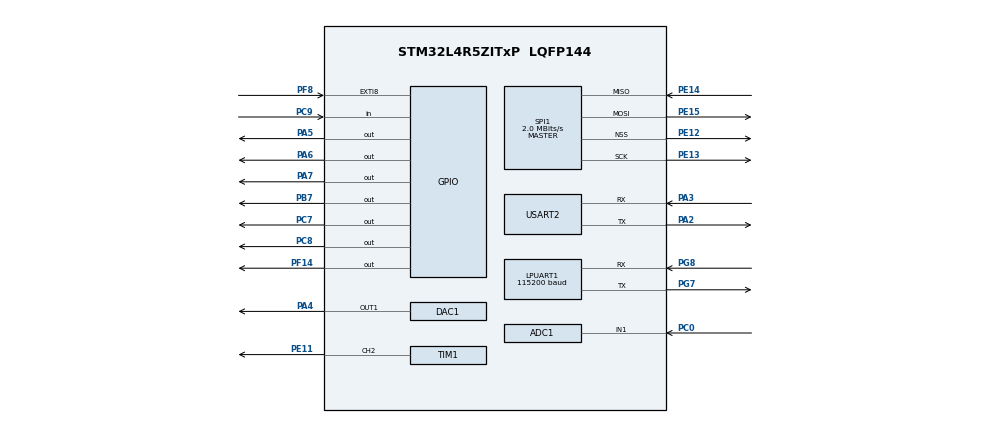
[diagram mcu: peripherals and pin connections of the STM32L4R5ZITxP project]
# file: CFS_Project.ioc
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ADC1.Channel-0\#ChannelRegularConversion=ADC_CHANNEL_1
ADC1.ClockPrescaler=ADC_CLOCK_ASYNC_DIV32
ADC1.NbrOfConversionFlag=1
ADC1.OffsetNumber-0\#ChannelRegularConversion=ADC_OFFSET_NONE
ADC1.Rank-0\#ChannelRegularConversion=1
ADC1.SamplingTime-0\#ChannelRegularConversion=ADC_SAMPLETIME_640CYCLES_5
ADC1.master=1
LPUART1.BaudRate=115200
LPUART1.WordLength=UART_WORDLENGTH_8B
Mcu.Family=STM32L4
Mcu.Name=STM32L4R5ZITxP
Mcu.Package=LQFP144
NVIC.EXTI9_5_IRQn=true\:1\:0\:true\:false\:true\:true\:true\:true
NVIC.PriorityGroup=NVIC_PRIORITYGROUP_4
NVIC.TIM4_IRQn=true\:0\:0\:false\:false\:true\:true\:true\:true
PA0.Signal=S_TIM2_CH1
PA10.Signal=USB_OTG_FS_ID
PA13\ (JTMS/SWDIO).Mode=Serial_Wire
PA13\ (JTMS/SWDIO).Signal=SYS_JTMS-SWDIO
PA14\ (JTCK/SWCLK).Mode=Serial_Wire
PA14\ (JTCK/SWCLK).Signal=SYS_JTCK-SWCLK
PA2.Mode=Asynchronous
PA2.Signal=USART2_TX
PA3.Mode=Asynchronous
PA3.Signal=USART2_RX
PA4.Signal=COMP_DAC11_group
PA5.Signal=GPIO_Output
PA6.Signal=GPIO_Output
PA7.Signal=GPIO_Output
PA8.Signal=USB_OTG_FS_SOF
PA9.Signal=USB_OTG_FS_VBUS
PB0.Signal=S_TIM3_CH3
PB1.Signal=ADCx_IN16
PB10.Signal=S_TIM2_CH3
PB12.Signal=SAI2_FS_A
PB13.Signal=SAI2_SCK_A
PB14.Signal=S_TIM15_CH1
PB15.Signal=SAI2_SD_A
PB2.Signal=COMP1_INP
PB3\ (JTDO/TRACESWO).Signal=SPI3_SCK
PB4\ (NJTRST).Signal=SPI3_MISO
PB5.Signal=SPI3_MOSI
PB7.Signal=GPIO_Output
PB8.Signal=I2C1_SCL
PB9.Signal=I2C1_SDA
PC0.Signal=ADCx_IN1
PC1.Signal=ADCx_IN2
PC10.Signal=SDMMC1_D2
PC11.Signal=SDMMC1_D3
PC12.Signal=SDMMC1_CK
PC13.Signal=SYS_WKUP2
PC14-OSC32_IN\ (PC14).Signal=RCC_OSC32_IN
PC15-OSC32_OUT\ (PC15).Signal=RCC_OSC32_OUT
PC2.Signal=ADCx_IN3
PC3.Signal=ADCx_IN4
PC4.Signal=ADCx_IN13
PC5.Signal=ADCx_IN14
PC6.Signal=SAI2_MCLK_A
PC7.Signal=GPIO_Output
PC8.Signal=GPIO_Output
PC9.Signal=GPIO_Input
PD0.Signal=CAN1_RX
PD14.Signal=S_TIM4_CH3
PD15.Signal=S_TIM4_CH4
PD2.Signal=SDMMC1_CMD
PD3.Signal=USART2_CTS
PD4.Signal=USART2_RTS
PD8.Signal=USART3_TX
PD9.Signal=USART3_RX
PE0.Signal=S_TIM4_ETR
PE10.Signal=TIM1_CH2N
PE11.Signal=S_TIM1_CH2
PE12.Mode=NSS_Signal_Hard_Output
PE12.Signal=SPI1_NSS
PE13.Mode=Full_Duplex_Master
PE13.Signal=SPI1_SCK
PE14.Mode=Full_Duplex_Master
PE14.Signal=SPI1_MISO
PE15.Mode=Full_Duplex_Master
PE15.Signal=SPI1_MOSI
PE2.Signal=SAI1_MCLK_A
PE3.Signal=SAI1_SD_B
PE7.Signal=S_TIM1_ETR
PE8.Signal=TIM1_CH1N
PE9.Signal=S_TIM1_CH1
PF0.Signal=I2C2_SDA
PF1.Signal=I2C2_SCL
PF14.Signal=GPIO_Output
PF2.Signal=I2C2_SMBA
PF7.Signal=SAI1_MCLK_B
PF8.GPIO_ModeDefaultEXTI=GPIO_MODE_IT_FALLING
PF8.Signal=GPXTI8
PG7.Mode=Asynchronous
PG7.Signal=LPUART1_TX
PG8.Mode=Asynchronous
PG8.Signal=LPUART1_RX
PH0-OSC_IN\ (PH0).Mode=HSE-External-Oscillator
PH0-OSC_IN\ (PH0).Signal=RCC_OSC_IN
PH1-OSC_OUT\ (PH1).Mode=HSE-External-Oscillator
PH1-OSC_OUT\ (PH1).Signal=RCC_OSC_OUT
ProjectManager.HeapSize=0x200
ProjectManager.StackSize=0x400
ProjectManager.TargetToolchain=STM32CubeIDE
RCC.ADCFreq_Value=32000000
RCC.HSE_VALUE=8000000
RCC.HSI48_VALUE=48000000
RCC.HSI_VALUE=16000000
RCC.LSE_VALUE=32768
RCC.MSI_VALUE=4000000
RCC.PLLSAI1N=16
RCC.USBFreq_Value=32000000
RCC.VCOOutputFreq_Value=32000000
SH.ADCx_IN1.0=ADC1_IN1,IN1-Single-Ended
SH.ADCx_IN13.0=ADC1_IN13
SH.ADCx_IN14.0=ADC1_IN14
SH.ADCx_IN16.0=ADC1_IN16
SH.ADCx_IN2.0=ADC1_IN2
SH.ADCx_IN3.0=ADC1_IN3
SH.ADCx_IN4.0=ADC1_IN4
SH.COMP_DAC11_group.0=DAC1_OUT1,DAC_OUT1
SH.S_TIM15_CH1.0=TIM15_CH1
SH.S_TIM1_CH1.0=TIM1_CH1
SH.S_TIM1_CH2.0=TIM1_CH2,PWM Generation2 CH2
SH.S_TIM1_ETR.0=TIM1_ETR
SH.S_TIM2_CH1.0=TIM2_CH1
SH.S_TIM2_CH3.0=TIM2_CH3
SH.S_TIM3_CH3.0=TIM3_CH3
SH.S_TIM4_CH3.0=TIM4_CH3
SH.S_TIM4_CH4.0=TIM4_CH4
SH.S_TIM4_ETR.0=TIM4_ETR
SPI1.CalculateBaudRate=2.0 MBits/s
SPI1.Direction=SPI_DIRECTION_2LINES
SPI1.Mode=SPI_MODE_MASTER
SPI1.VirtualNSS=VM_NSSHARD
SPI1.VirtualType=VM_MASTER
TIM1.Channel-PWM\ Generation2\ CH2=TIM_CHANNEL_2
TIM1.Period=1999
TIM1.Prescaler=39
TIM4.Period=30000
TIM4.Prescaler=39999
USART2.VirtualMode-Asynchronous=VM_ASYNC
VP_TIM1_VS_ClockSourceINT.Mode=Internal
VP_TIM4_VS_ClockSourceINT.Mode=Internal
board=NUCLEO-L4R5ZI-P

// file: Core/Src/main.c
/* USER CODE BEGIN Header */
/**
  ******************************************************************************
  * @file           : main.c
  * @brief          : Main program body
  ******************************************************************************
  * @attention
  *
  * Copyright (c) 2023 STMicroelectronics.
  * All rights reserved.
  *
  * This software is licensed under terms that can be found in the LICENSE file
  * in the root directory of this software component.
  * If no LICENSE file comes with this software, it is provided AS-IS.
  *
  ******************************************************************************
  */
/* USER CODE END Header */
#include "main.h"

/* USER CODE BEGIN Includes */
#include <math.h>
#include "stdio.h"
#include "lora_sx1276.h"
/* USER CODE END Includes */

/* USER CODE BEGIN PD */
#define TIM_CNT_OFFSET 0x24 // timer counter reg offset
#define TIM4_ADDR 0x40000800 //timer 4 base register
#define TIM1_ADDR 0x40012C00 //timer 4 base register
#define TIM_CCR2_OFFSET 0x38 //capture/compare register 2
#define MOTION_THRESHOLD 45 // motion sensor trigger threshold

/* USER CODE END PD */

ADC_HandleTypeDef hadc1;

DAC_HandleTypeDef hdac1;

UART_HandleTypeDef hlpuart1;
UART_HandleTypeDef huart2;

SPI_HandleTypeDef hspi1;

TIM_HandleTypeDef htim1;
TIM_HandleTypeDef htim4;

/* USER CODE BEGIN PV */
uint8_t Rx_data[4] = {255, 255, 255, 255}; // Creating a buffer of 8 bytes
volatile uint8_t day;
static double R = 10; // 10K Ohms
volatile uint8_t motion;
/* USER CODE END PV */

void SystemClock_Config(void);
static void MX_GPIO_Init(void);
static void MX_ADC1_Init(void);
static void MX_DAC1_Init(void);
static void MX_LPUART1_UART_Init(void);
static void MX_TIM4_Init(void);
static void MX_TIM1_Init(void);
static void MX_USART2_UART_Init(void);
static void MX_SPI1_Init(void);
/* USER CODE BEGIN PFP */
double lux_read(double);
uint8_t* UART2_init(void);

void move_servo_right(void);
void move_servo_center_left(void);
void move_servo_left(void);
void move_servo_center_right(void);
/* USER CODE END PFP */

/* USER CODE BEGIN 0 */
uint32_t * tim1_ccr2 = (uint32_t *)(TIM1_ADDR + TIM_CCR2_OFFSET);

uint8_t display_LUT[10][8]= {
	{0x06, 0x09, 0x09, 0x09, 0x09, 0x09, 0x09, 0x06}, //0
	{0x02, 0x06, 0x0A, 0x02, 0x02, 0x02, 0x02, 0x0F}, //1
	{0x06, 0x09, 0x01, 0x02, 0x04, 0x08, 0x08, 0x0F}, //2
	{0x06, 0x09, 0x01, 0x02, 0x07, 0x01, 0x09, 0x06}, //3
	{0x09, 0x09, 0x09, 0x0F, 0x01, 0x01, 0x01, 0x01}, //4
	{0x0F, 0x08, 0x08, 0x0E, 0x01, 0x01, 0x09, 0x06}, //5
	{0x06, 0x09, 0x08, 0x0E, 0x09, 0x09, 0x09, 0x06}, //6
	{0x0F, 0x09, 0x01, 0x03, 0x06, 0x04, 0x0C, 0x08}, //7
	{0x06, 0x09, 0x09, 0x06, 0x09, 0x09, 0x09, 0x06}, //8
	{0x06, 0x09, 0x09, 0x09, 0x07, 0x01, 0x01, 0x01}, //9
};

void write_byte (uint8_t byte)
{
	for (int i =0; i<8; i++)
	{
		HAL_GPIO_WritePin(GPIOA, GPIO_PIN_5, 0);  // pull the clock pin low
		HAL_GPIO_WritePin(GPIOA, GPIO_PIN_7, byte&0x80);  // write the MSB bit to the data pin
		byte = byte<<1;  // shift left
		HAL_GPIO_WritePin(GPIOA, GPIO_PIN_5, 1);  // pull the clock pin HIGH
	}
}

void write_max (uint8_t address, uint8_t data)
{
	HAL_GPIO_WritePin (GPIOA, GPIO_PIN_6, 0);  // pull the CS pin LOW
	write_byte (address);
	write_byte (data);
	HAL_GPIO_WritePin (GPIOA, GPIO_PIN_6, 1);  // pull the CS pin HIGH
}

// init display
void max_init(void)
{
 write_max(0x09, 0x00);       //  no decoding
 write_max(0x0a, 0x01);       //  brightness intensity
 write_max(0x0b, 0x07);       //  scan limit = 8 LEDs
 write_max(0x0c, 0x01);       //  power down =0,normal mode = 1
 write_max(0x0f, 0x00);       //  no test display

 uint8_t dispTen[8] = {};
 uint8_t dispOne[8];

 	int tens = 0;
 	int ones = 0;

 	if(tens != 0){
 		for (int i=0; i<8; i++){
 			dispTen[i] = display_LUT[tens][i] << 4;
 		}
 	}

 	for (int i=0; i<8; i++){
 		dispOne[i] = display_LUT[ones][i] + dispTen[i];
 		write_max(i+1 , dispOne[i]);
 	}
}

void display_number(uint8_t* data) {
	uint8_t dispTen[8] = {};
	uint8_t dispOne[8];

	int tens = (*data)/10;
	int ones = (*data)%10;

	if(tens != 0){
		for (int i=0; i<8; i++){
			dispTen[i] = display_LUT[tens][i] << 4;
		}
	}

	for (int i=0; i<8; i++){
		dispOne[i] = display_LUT[ones][i] + dispTen[i];
		write_max(i+1 , dispOne[i]);
	}
}

/* USER CODE END 0 */

int main(void)
{

  /* MCU Configuration--------------------------------------------------------*/

  /* Reset of all peripherals, Initializes the Flash interface and the Systick. */
  HAL_Init();

  /* Configure the system clock */
  SystemClock_Config();

  /* Initialize all configured peripherals */
  MX_GPIO_Init();
  MX_ADC1_Init();
  MX_DAC1_Init();
  MX_LPUART1_UART_Init();
  MX_TIM4_Init();
  MX_TIM1_Init();
  MX_USART2_UART_Init();
  MX_SPI1_Init();
  /* USER CODE BEGIN 2 */
  HAL_TIM_PWM_Start(&htim1, TIM_CHANNEL_2);

  if (HAL_TIM_Base_Start_IT(&htim4) != HAL_OK)
    {
      /* Starting Error */
      Error_Handler();
    }

  max_init();

  lora_sx1276 lora;

  /*
    // SX1276 compatible module connected to SPI1, NSS pin connected to GPIO with label LORA_NSS
    uint8_t res = lora_init(&lora, &hspi1, GPIOE, GPIO_PIN_12, LORA_BASE_FREQUENCY_US);
    if (res != LORA_OK) {
      printf("LORA Initialization failed\n\r");
    }

    // Send packet can be as simple as
	   res = lora_send_packet(&lora, (uint8_t *)"Test", 4);
	   if (res != LORA_OK) {
		 printf("LORA Send failed\n\r");
	   }
	*/
  /* USER CODE END 2 */

  /* Infinite loop */
  /* USER CODE BEGIN WHILE */
  while (1)
  {
	  //PB7: Servo Indicator
	  //PC7: LED indicator of data capture process
	  //PC8: STM -> Jetson shared signal
	  //PC9: Jetson -> STM shared signal

	  volatile double lux;
	  motion = 0;

	 for (int i = 0; i < 12; ++i) { // total of 60 seconds interval, 12 samples taken
		lux = lux_read(R); // pass in resistance
		printf("lux value: %f \n\r", lux);
		if (lux < 10.) {
		  day = 0;
		  HAL_GPIO_WritePin(GPIOF, GPIO_PIN_14, 0b0); // Set F14 high -> put Jetson back into deep sleep
		}
		else {
		  day = 1;
		  HAL_GPIO_WritePin(GPIOF, GPIO_PIN_14, 0b0); // Set F14 high -> put Jetson back into deep sleep
		}
		HAL_Delay(5000); // 5 second poll interval in main
	 }

	 if (day & ~HAL_GPIO_ReadPin(GPIOB, GPIO_PIN_7) & (motion >= MOTION_THRESHOLD)) { // if there is enough motion detected
		 HAL_GPIO_TogglePin(GPIOF, GPIO_PIN_14); // toggle pin to 0 -> wake up Jetson from deep sleep
		 HAL_Delay(100);
		 HAL_GPIO_TogglePin(GPIOF, GPIO_PIN_14); // toggle pin to 1

		 HAL_GPIO_WritePin(GPIOB, GPIO_PIN_7, 1); // Starts the data analysis process

		 printf("motion count: %u \n\r", motion);

		 uint32_t* TIM4_CNT = (uint32_t*)(TIM4_ADDR + TIM_CNT_OFFSET);
		 *TIM4_CNT &= 0x00000000; // reset TIM4

		 HAL_Delay(5000);
	 }

	 while ((HAL_GPIO_ReadPin(GPIOB, GPIO_PIN_7) == 1) & (HAL_GPIO_ReadPin(GPIOC, GPIO_PIN_9) == 0)) {
		 HAL_Delay(200);
		 printf("Added delay before detection");
	 }

	 if (HAL_GPIO_ReadPin(GPIOB, GPIO_PIN_7) == 1) { // if motion or 5 min timer triggered -> actuate servos for reading and set shared signal (PC7) high for reading
		 HAL_NVIC_DisableIRQ(EXTI9_5_IRQn); // disable interrupts
		 Rx_data[0] = 255;
		 move_servo_right(); // move servo to first position
		 // READY TO BEGIN DETECTION
		 HAL_GPIO_WritePin(GPIOC, GPIO_PIN_7, 1);
		 HAL_GPIO_WritePin(GPIOC, GPIO_PIN_8, 1); // set shared signal high for first jetson reading
		 HAL_Delay(1);
		 HAL_GPIO_WritePin(GPIOC, GPIO_PIN_8, 0); // set shared signal low

		 HAL_Delay(5000);
		 while (HAL_GPIO_ReadPin(GPIOC, GPIO_PIN_9) == 0) { // wait until jetson completes reading
			 printf("Waiting for first reading \n\r");
		 }

		 printf("Moving Servos \n\r");
		 move_servo_center_left();
		 move_servo_left(); // move to second position
		 printf("Finished Moving Servos \n\r");

		 HAL_GPIO_WritePin(GPIOC, GPIO_PIN_8, 1); // set shared signal high for second jetson reading
		 HAL_Delay(1);
		 HAL_GPIO_WritePin(GPIOC, GPIO_PIN_8, 0); // set shared signal low

		 while (Rx_data[0] == 255) { // wait to receive data from jetson
			 	HAL_UART_Receive(&huart2, Rx_data, 4, 1000); // get first processed data of pedestrian count
		 }
		 printf("UART: %u \n\r", Rx_data[0]);
		 display_number(Rx_data);

		 HAL_GPIO_WritePin(GPIOC, GPIO_PIN_7, 0); // set led indicator low
		 move_servo_center_right(); // move servo back to center, reset

		 HAL_GPIO_WritePin(GPIOB, GPIO_PIN_7, 0); // done with count algorithm, stop servo movement

		 HAL_NVIC_EnableIRQ(EXTI9_5_IRQn); // disable interrupts
		 /*
		 // Send packet can be as simple as
		   res = lora_send_packet(&lora, (uint8_t *)Rx_data, 4);
		   if (res != LORA_OK) {
		     printf("LORA Send failed");
		   }
		  */
	 }

	// printf("motion value: %f \n\r", motion_v);

    /* USER CODE END WHILE */

  }
}

void SystemClock_Config(void)
{
  RCC_OscInitTypeDef RCC_OscInitStruct = {0};
  RCC_ClkInitTypeDef RCC_ClkInitStruct = {0};

  /** Configure the main internal regulator output voltage
  */
  if (HAL_PWREx_ControlVoltageScaling(PWR_REGULATOR_VOLTAGE_SCALE1) != HAL_OK)
  {
    Error_Handler();
  }

  /** Initializes the RCC Oscillators according to the specified parameters
  * in the RCC_OscInitTypeDef structure.
  */
  RCC_OscInitStruct.OscillatorType = RCC_OSCILLATORTYPE_MSI;
  RCC_OscInitStruct.MSIState = RCC_MSI_ON;
  RCC_OscInitStruct.MSICalibrationValue = 0;
  RCC_OscInitStruct.MSIClockRange = RCC_MSIRANGE_6;
  RCC_OscInitStruct.PLL.PLLState = RCC_PLL_NONE;
  if (HAL_RCC_OscConfig(&RCC_OscInitStruct) != HAL_OK)
  {
    Error_Handler();
  }

  /** Initializes the CPU, AHB and APB buses clocks
  */
  RCC_ClkInitStruct.ClockType = RCC_CLOCKTYPE_HCLK|RCC_CLOCKTYPE_SYSCLK
                              |RCC_CLOCKTYPE_PCLK1|RCC_CLOCKTYPE_PCLK2;
  RCC_ClkInitStruct.SYSCLKSource = RCC_SYSCLKSOURCE_MSI;
  RCC_ClkInitStruct.AHBCLKDivider = RCC_SYSCLK_DIV1;
  RCC_ClkInitStruct.APB1CLKDivider = RCC_HCLK_DIV1;
  RCC_ClkInitStruct.APB2CLKDivider = RCC_HCLK_DIV1;

  if (HAL_RCC_ClockConfig(&RCC_ClkInitStruct, FLASH_LATENCY_0) != HAL_OK)
  {
    Error_Handler();
  }
}

static void MX_ADC1_Init(void)
{

  ADC_ChannelConfTypeDef sConfig = {0};

  /** Common config
  */
  hadc1.Instance = ADC1;
  hadc1.Init.ClockPrescaler = ADC_CLOCK_ASYNC_DIV32;
  hadc1.Init.Resolution = ADC_RESOLUTION_12B;
  hadc1.Init.DataAlign = ADC_DATAALIGN_RIGHT;
  hadc1.Init.ScanConvMode = ADC_SCAN_DISABLE;
  hadc1.Init.EOCSelection = ADC_EOC_SINGLE_CONV;
  hadc1.Init.LowPowerAutoWait = DISABLE;
  hadc1.Init.ContinuousConvMode = DISABLE;
  hadc1.Init.NbrOfConversion = 1;
  hadc1.Init.DiscontinuousConvMode = DISABLE;
  hadc1.Init.ExternalTrigConv = ADC_SOFTWARE_START;
  hadc1.Init.ExternalTrigConvEdge = ADC_EXTERNALTRIGCONVEDGE_NONE;
  hadc1.Init.DMAContinuousRequests = DISABLE;
  hadc1.Init.Overrun = ADC_OVR_DATA_PRESERVED;
  hadc1.Init.OversamplingMode = DISABLE;
  hadc1.Init.DFSDMConfig = ADC_DFSDM_MODE_ENABLE;
  if (HAL_ADC_Init(&hadc1) != HAL_OK)
  {
    Error_Handler();
  }

  /** Configure Regular Channel
  */
  sConfig.Channel = ADC_CHANNEL_1;
  sConfig.Rank = ADC_REGULAR_RANK_1;
  sConfig.SamplingTime = ADC_SAMPLETIME_640CYCLES_5;
  sConfig.SingleDiff = ADC_SINGLE_ENDED;
  sConfig.OffsetNumber = ADC_OFFSET_NONE;
  sConfig.Offset = 0;
  if (HAL_ADC_ConfigChannel(&hadc1, &sConfig) != HAL_OK)
  {
    Error_Handler();
  }

}

static void MX_DAC1_Init(void)
{

  DAC_ChannelConfTypeDef sConfig = {0};

  /** DAC Initialization
  */
  hdac1.Instance = DAC1;
  if (HAL_DAC_Init(&hdac1) != HAL_OK)
  {
    Error_Handler();
  }

  /** DAC channel OUT1 config
  */
  sConfig.DAC_SampleAndHold = DAC_SAMPLEANDHOLD_DISABLE;
  sConfig.DAC_Trigger = DAC_TRIGGER_NONE;
  sConfig.DAC_HighFrequency = DAC_HIGH_FREQUENCY_INTERFACE_MODE_DISABLE;
  sConfig.DAC_OutputBuffer = DAC_OUTPUTBUFFER_ENABLE;
  sConfig.DAC_ConnectOnChipPeripheral = DAC_CHIPCONNECT_DISABLE;
  sConfig.DAC_UserTrimming = DAC_TRIMMING_FACTORY;
  if (HAL_DAC_ConfigChannel(&hdac1, &sConfig, DAC_CHANNEL_1) != HAL_OK)
  {
    Error_Handler();
  }

}

static void MX_LPUART1_UART_Init(void)
{

  hlpuart1.Instance = LPUART1;
  hlpuart1.Init.BaudRate = 115200;
  hlpuart1.Init.WordLength = UART_WORDLENGTH_8B;
  hlpuart1.Init.StopBits = UART_STOPBITS_1;
  hlpuart1.Init.Parity = UART_PARITY_NONE;
  hlpuart1.Init.Mode = UART_MODE_TX_RX;
  hlpuart1.Init.HwFlowCtl = UART_HWCONTROL_NONE;
  hlpuart1.Init.OneBitSampling = UART_ONE_BIT_SAMPLE_DISABLE;
  hlpuart1.Init.ClockPrescaler = UART_PRESCALER_DIV1;
  hlpuart1.AdvancedInit.AdvFeatureInit = UART_ADVFEATURE_NO_INIT;
  hlpuart1.FifoMode = UART_FIFOMODE_DISABLE;
  if (HAL_UART_Init(&hlpuart1) != HAL_OK)
  {
    Error_Handler();
  }
  if (HAL_UARTEx_SetTxFifoThreshold(&hlpuart1, UART_TXFIFO_THRESHOLD_1_8) != HAL_OK)
  {
    Error_Handler();
  }
  if (HAL_UARTEx_SetRxFifoThreshold(&hlpuart1, UART_RXFIFO_THRESHOLD_1_8) != HAL_OK)
  {
    Error_Handler();
  }
  if (HAL_UARTEx_DisableFifoMode(&hlpuart1) != HAL_OK)
  {
    Error_Handler();
  }

}

static void MX_USART2_UART_Init(void)
{

  huart2.Instance = USART2;
  huart2.Init.BaudRate = 115200;
  huart2.Init.WordLength = UART_WORDLENGTH_8B;
  huart2.Init.StopBits = UART_STOPBITS_1;
  huart2.Init.Parity = UART_PARITY_NONE;
  huart2.Init.Mode = UART_MODE_TX_RX;
  huart2.Init.HwFlowCtl = UART_HWCONTROL_NONE;
  huart2.Init.OverSampling = UART_OVERSAMPLING_16;
  huart2.Init.OneBitSampling = UART_ONE_BIT_SAMPLE_DISABLE;
  huart2.Init.ClockPrescaler = UART_PRESCALER_DIV1;
  huart2.AdvancedInit.AdvFeatureInit = UART_ADVFEATURE_NO_INIT;
  if (HAL_UART_Init(&huart2) != HAL_OK)
  {
    Error_Handler();
  }
  if (HAL_UARTEx_SetTxFifoThreshold(&huart2, UART_TXFIFO_THRESHOLD_1_8) != HAL_OK)
  {
    Error_Handler();
  }
  if (HAL_UARTEx_SetRxFifoThreshold(&huart2, UART_RXFIFO_THRESHOLD_1_8) != HAL_OK)
  {
    Error_Handler();
  }
  if (HAL_UARTEx_DisableFifoMode(&huart2) != HAL_OK)
  {
    Error_Handler();
  }

}

static void MX_SPI1_Init(void)
{

  /* SPI1 parameter configuration*/
  hspi1.Instance = SPI1;
  hspi1.Init.Mode = SPI_MODE_MASTER;
  hspi1.Init.Direction = SPI_DIRECTION_2LINES;
  hspi1.Init.DataSize = SPI_DATASIZE_4BIT;
  hspi1.Init.CLKPolarity = SPI_POLARITY_LOW;
  hspi1.Init.CLKPhase = SPI_PHASE_1EDGE;
  hspi1.Init.NSS = SPI_NSS_HARD_OUTPUT;
  hspi1.Init.BaudRatePrescaler = SPI_BAUDRATEPRESCALER_2;
  hspi1.Init.FirstBit = SPI_FIRSTBIT_MSB;
  hspi1.Init.TIMode = SPI_TIMODE_DISABLE;
  hspi1.Init.CRCCalculation = SPI_CRCCALCULATION_DISABLE;
  hspi1.Init.CRCPolynomial = 7;
  hspi1.Init.CRCLength = SPI_CRC_LENGTH_DATASIZE;
  hspi1.Init.NSSPMode = SPI_NSS_PULSE_ENABLE;
  if (HAL_SPI_Init(&hspi1) != HAL_OK)
  {
    Error_Handler();
  }

}

static void MX_TIM1_Init(void)
{

  TIM_ClockConfigTypeDef sClockSourceConfig = {0};
  TIM_MasterConfigTypeDef sMasterConfig = {0};
  TIM_OC_InitTypeDef sConfigOC = {0};
  TIM_BreakDeadTimeConfigTypeDef sBreakDeadTimeConfig = {0};

  htim1.Instance = TIM1;
  htim1.Init.Prescaler = 39;
  htim1.Init.CounterMode = TIM_COUNTERMODE_UP;
  htim1.Init.Period = 1999;
  htim1.Init.ClockDivision = TIM_CLOCKDIVISION_DIV1;
  htim1.Init.RepetitionCounter = 0;
  htim1.Init.AutoReloadPreload = TIM_AUTORELOAD_PRELOAD_DISABLE;
  if (HAL_TIM_Base_Init(&htim1) != HAL_OK)
  {
    Error_Handler();
  }
  sClockSourceConfig.ClockSource = TIM_CLOCKSOURCE_INTERNAL;
  if (HAL_TIM_ConfigClockSource(&htim1, &sClockSourceConfig) != HAL_OK)
  {
    Error_Handler();
  }
  if (HAL_TIM_PWM_Init(&htim1) != HAL_OK)
  {
    Error_Handler();
  }
  sMasterConfig.MasterOutputTrigger = TIM_TRGO_RESET;
  sMasterConfig.MasterOutputTrigger2 = TIM_TRGO2_RESET;
  sMasterConfig.MasterSlaveMode = TIM_MASTERSLAVEMODE_DISABLE;
  if (HAL_TIMEx_MasterConfigSynchronization(&htim1, &sMasterConfig) != HAL_OK)
  {
    Error_Handler();
  }
  sConfigOC.OCMode = TIM_OCMODE_PWM1;
  sConfigOC.Pulse = 0;
  sConfigOC.OCPolarity = TIM_OCPOLARITY_HIGH;
  sConfigOC.OCNPolarity = TIM_OCNPOLARITY_HIGH;
  sConfigOC.OCFastMode = TIM_OCFAST_DISABLE;
  sConfigOC.OCIdleState = TIM_OCIDLESTATE_RESET;
  sConfigOC.OCNIdleState = TIM_OCNIDLESTATE_RESET;
  if (HAL_TIM_PWM_ConfigChannel(&htim1, &sConfigOC, TIM_CHANNEL_2) != HAL_OK)
  {
    Error_Handler();
  }
  sBreakDeadTimeConfig.OffStateRunMode = TIM_OSSR_DISABLE;
  sBreakDeadTimeConfig.OffStateIDLEMode = TIM_OSSI_DISABLE;
  sBreakDeadTimeConfig.LockLevel = TIM_LOCKLEVEL_OFF;
  sBreakDeadTimeConfig.DeadTime = 0;
  sBreakDeadTimeConfig.BreakState = TIM_BREAK_DISABLE;
  sBreakDeadTimeConfig.BreakPolarity = TIM_BREAKPOLARITY_HIGH;
  sBreakDeadTimeConfig.BreakFilter = 0;
  sBreakDeadTimeConfig.Break2State = TIM_BREAK2_DISABLE;
  sBreakDeadTimeConfig.Break2Polarity = TIM_BREAK2POLARITY_HIGH;
  sBreakDeadTimeConfig.Break2Filter = 0;
  sBreakDeadTimeConfig.AutomaticOutput = TIM_AUTOMATICOUTPUT_DISABLE;
  if (HAL_TIMEx_ConfigBreakDeadTime(&htim1, &sBreakDeadTimeConfig) != HAL_OK)
  {
    Error_Handler();
  }
  HAL_TIM_MspPostInit(&htim1);

}

static void MX_TIM4_Init(void)
{

  TIM_ClockConfigTypeDef sClockSourceConfig = {0};
  TIM_MasterConfigTypeDef sMasterConfig = {0};

  htim4.Instance = TIM4;
  htim4.Init.Prescaler = 39999;
  htim4.Init.CounterMode = TIM_COUNTERMODE_UP;
  htim4.Init.Period = 30000;
  htim4.Init.ClockDivision = TIM_CLOCKDIVISION_DIV1;
  htim4.Init.AutoReloadPreload = TIM_AUTORELOAD_PRELOAD_DISABLE;
  if (HAL_TIM_Base_Init(&htim4) != HAL_OK)
  {
    Error_Handler();
  }
  sClockSourceConfig.ClockSource = TIM_CLOCKSOURCE_INTERNAL;
  if (HAL_TIM_ConfigClockSource(&htim4, &sClockSourceConfig) != HAL_OK)
  {
    Error_Handler();
  }
  sMasterConfig.MasterOutputTrigger = TIM_TRGO_RESET;
  sMasterConfig.MasterSlaveMode = TIM_MASTERSLAVEMODE_DISABLE;
  if (HAL_TIMEx_MasterConfigSynchronization(&htim4, &sMasterConfig) != HAL_OK)
  {
    Error_Handler();
  }

}

static void MX_GPIO_Init(void)
{
  GPIO_InitTypeDef GPIO_InitStruct = {0};

  /* GPIO Ports Clock Enable */
  __HAL_RCC_GPIOE_CLK_ENABLE();
  __HAL_RCC_GPIOC_CLK_ENABLE();
  __HAL_RCC_GPIOF_CLK_ENABLE();
  __HAL_RCC_GPIOH_CLK_ENABLE();
  __HAL_RCC_GPIOA_CLK_ENABLE();
  __HAL_RCC_GPIOB_CLK_ENABLE();
  __HAL_RCC_GPIOD_CLK_ENABLE();
  __HAL_RCC_GPIOG_CLK_ENABLE();
  HAL_PWREx_EnableVddIO2();

  /*Configure GPIO pin Output Level */
  HAL_GPIO_WritePin(GPIOA, GPIO_PIN_5|GPIO_PIN_6|GPIO_PIN_7, GPIO_PIN_RESET);

  /*Configure GPIO pin Output Level */
  HAL_GPIO_WritePin(GPIOF, GPIO_PIN_14, GPIO_PIN_RESET);

  /*Configure GPIO pin Output Level */
  HAL_GPIO_WritePin(GPIOC, GPIO_PIN_7|GPIO_PIN_8, GPIO_PIN_RESET);

  /*Configure GPIO pin Output Level */
  HAL_GPIO_WritePin(GPIOB, GPIO_PIN_7, GPIO_PIN_RESET);

  /*Configure GPIO pins : PE2 PE3 */
  GPIO_InitStruct.Pin = GPIO_PIN_2|GPIO_PIN_3;
  GPIO_InitStruct.Mode = GPIO_MODE_AF_PP;
  GPIO_InitStruct.Pull = GPIO_NOPULL;
  GPIO_InitStruct.Speed = GPIO_SPEED_FREQ_LOW;
  GPIO_InitStruct.Alternate = GPIO_AF13_SAI1;
  HAL_GPIO_Init(GPIOE, &GPIO_InitStruct);

  /*Configure GPIO pins : PF0 PF1 PF2 */
  GPIO_InitStruct.Pin = GPIO_PIN_0|GPIO_PIN_1|GPIO_PIN_2;
  GPIO_InitStruct.Mode = GPIO_MODE_AF_OD;
  GPIO_InitStruct.Pull = GPIO_NOPULL;
  GPIO_InitStruct.Speed = GPIO_SPEED_FREQ_VERY_HIGH;
  GPIO_InitStruct.Alternate = GPIO_AF4_I2C2;
  HAL_GPIO_Init(GPIOF, &GPIO_InitStruct);

  /*Configure GPIO pin : PF7 */
  GPIO_InitStruct.Pin = GPIO_PIN_7;
  GPIO_InitStruct.Mode = GPIO_MODE_AF_PP;
  GPIO_InitStruct.Pull = GPIO_NOPULL;
  GPIO_InitStruct.Speed = GPIO_SPEED_FREQ_LOW;
  GPIO_InitStruct.Alternate = GPIO_AF13_SAI1;
  HAL_GPIO_Init(GPIOF, &GPIO_InitStruct);

  /*Configure GPIO pin : PF8 */
  GPIO_InitStruct.Pin = GPIO_PIN_8;
  GPIO_InitStruct.Mode = GPIO_MODE_IT_FALLING;
  GPIO_InitStruct.Pull = GPIO_NOPULL;
  HAL_GPIO_Init(GPIOF, &GPIO_InitStruct);

  /*Configure GPIO pin : PA0 */
  GPIO_InitStruct.Pin = GPIO_PIN_0;
  GPIO_InitStruct.Mode = GPIO_MODE_AF_PP;
  GPIO_InitStruct.Pull = GPIO_NOPULL;
  GPIO_InitStruct.Speed = GPIO_SPEED_FREQ_LOW;
  GPIO_InitStruct.Alternate = GPIO_AF1_TIM2;
  HAL_GPIO_Init(GPIOA, &GPIO_InitStruct);

  /*Configure GPIO pins : PA5 PA6 PA7 */
  GPIO_InitStruct.Pin = GPIO_PIN_5|GPIO_PIN_6|GPIO_PIN_7;
  GPIO_InitStruct.Mode = GPIO_MODE_OUTPUT_PP;
  GPIO_InitStruct.Pull = GPIO_NOPULL;
  GPIO_InitStruct.Speed = GPIO_SPEED_FREQ_LOW;
  HAL_GPIO_Init(GPIOA, &GPIO_InitStruct);

  /*Configure GPIO pin : PB0 */
  GPIO_InitStruct.Pin = GPIO_PIN_0;
  GPIO_InitStruct.Mode = GPIO_MODE_AF_PP;
  GPIO_InitStruct.Pull = GPIO_NOPULL;
  GPIO_InitStruct.Speed = GPIO_SPEED_FREQ_LOW;
  GPIO_InitStruct.Alternate = GPIO_AF2_TIM3;
  HAL_GPIO_Init(GPIOB, &GPIO_InitStruct);

  /*Configure GPIO pin : PB2 */
  GPIO_InitStruct.Pin = GPIO_PIN_2;
  GPIO_InitStruct.Mode = GPIO_MODE_ANALOG;
  GPIO_InitStruct.Pull = GPIO_NOPULL;
  HAL_GPIO_Init(GPIOB, &GPIO_InitStruct);

  /*Configure GPIO pin : PF14 */
  GPIO_InitStruct.Pin = GPIO_PIN_14;
  GPIO_InitStruct.Mode = GPIO_MODE_OUTPUT_PP;
  GPIO_InitStruct.Pull = GPIO_NOPULL;
  GPIO_InitStruct.Speed = GPIO_SPEED_FREQ_LOW;
  HAL_GPIO_Init(GPIOF, &GPIO_InitStruct);

  /*Configure GPIO pin : PB10 */
  GPIO_InitStruct.Pin = GPIO_PIN_10;
  GPIO_InitStruct.Mode = GPIO_MODE_AF_PP;
  GPIO_InitStruct.Pull = GPIO_NOPULL;
  GPIO_InitStruct.Speed = GPIO_SPEED_FREQ_LOW;
  GPIO_InitStruct.Alternate = GPIO_AF1_TIM2;
  HAL_GPIO_Init(GPIOB, &GPIO_InitStruct);

  /*Configure GPIO pins : PB12 PB13 PB15 */
  GPIO_InitStruct.Pin = GPIO_PIN_12|GPIO_PIN_13|GPIO_PIN_15;
  GPIO_InitStruct.Mode = GPIO_MODE_AF_PP;
  GPIO_InitStruct.Pull = GPIO_NOPULL;
  GPIO_InitStruct.Speed = GPIO_SPEED_FREQ_LOW;
  GPIO_InitStruct.Alternate = GPIO_AF13_SAI2;
  HAL_GPIO_Init(GPIOB, &GPIO_InitStruct);

  /*Configure GPIO pin : PB14 */
  GPIO_InitStruct.Pin = GPIO_PIN_14;
  GPIO_InitStruct.Mode = GPIO_MODE_AF_PP;
  GPIO_InitStruct.Pull = GPIO_NOPULL;
  GPIO_InitStruct.Speed = GPIO_SPEED_FREQ_LOW;
  GPIO_InitStruct.Alternate = GPIO_AF14_TIM15;
  HAL_GPIO_Init(GPIOB, &GPIO_InitStruct);

  /*Configure GPIO pins : PD8 PD9 */
  GPIO_InitStruct.Pin = GPIO_PIN_8|GPIO_PIN_9;
  GPIO_InitStruct.Mode = GPIO_MODE_AF_PP;
  GPIO_InitStruct.Pull = GPIO_NOPULL;
  GPIO_InitStruct.Speed = GPIO_SPEED_FREQ_VERY_HIGH;
  GPIO_InitStruct.Alternate = GPIO_AF7_USART3;
  HAL_GPIO_Init(GPIOD, &GPIO_InitStruct);

  /*Configure GPIO pin : PC6 */
  GPIO_InitStruct.Pin = GPIO_PIN_6;
  GPIO_InitStruct.Mode = GPIO_MODE_AF_PP;
  GPIO_InitStruct.Pull = GPIO_NOPULL;
  GPIO_InitStruct.Speed = GPIO_SPEED_FREQ_LOW;
  GPIO_InitStruct.Alternate = GPIO_AF13_SAI2;
  HAL_GPIO_Init(GPIOC, &GPIO_InitStruct);

  /*Configure GPIO pins : PC7 PC8 */
  GPIO_InitStruct.Pin = GPIO_PIN_7|GPIO_PIN_8;
  GPIO_InitStruct.Mode = GPIO_MODE_OUTPUT_PP;
  GPIO_InitStruct.Pull = GPIO_NOPULL;
  GPIO_InitStruct.Speed = GPIO_SPEED_FREQ_LOW;
  HAL_GPIO_Init(GPIOC, &GPIO_InitStruct);

  /*Configure GPIO pin : PC9 */
  GPIO_InitStruct.Pin = GPIO_PIN_9;
  GPIO_InitStruct.Mode = GPIO_MODE_INPUT;
  GPIO_InitStruct.Pull = GPIO_NOPULL;
  HAL_GPIO_Init(GPIOC, &GPIO_InitStruct);

  /*Configure GPIO pins : PA8 PA10 */
  GPIO_InitStruct.Pin = GPIO_PIN_8|GPIO_PIN_10;
  GPIO_InitStruct.Mode = GPIO_MODE_AF_PP;
  GPIO_InitStruct.Pull = GPIO_NOPULL;
  GPIO_InitStruct.Speed = GPIO_SPEED_FREQ_VERY_HIGH;
  GPIO_InitStruct.Alternate = GPIO_AF10_OTG_FS;
  HAL_GPIO_Init(GPIOA, &GPIO_InitStruct);

  /*Configure GPIO pin : PA9 */
  GPIO_InitStruct.Pin = GPIO_PIN_9;
  GPIO_InitStruct.Mode = GPIO_MODE_INPUT;
  GPIO_InitStruct.Pull = GPIO_NOPULL;
  HAL_GPIO_Init(GPIOA, &GPIO_InitStruct);

  /*Configure GPIO pins : PC10 PC11 PC12 */
  GPIO_InitStruct.Pin = GPIO_PIN_10|GPIO_PIN_11|GPIO_PIN_12;
  GPIO_InitStruct.Mode = GPIO_MODE_AF_PP;
  GPIO_InitStruct.Pull = GPIO_NOPULL;
  GPIO_InitStruct.Speed = GPIO_SPEED_FREQ_VERY_HIGH;
  GPIO_InitStruct.Alternate = GPIO_AF12_SDMMC1;
  HAL_GPIO_Init(GPIOC, &GPIO_InitStruct);

  /*Configure GPIO pin : PD0 */
  GPIO_InitStruct.Pin = GPIO_PIN_0;
  GPIO_InitStruct.Mode = GPIO_MODE_AF_PP;
  GPIO_InitStruct.Pull = GPIO_NOPULL;
  GPIO_InitStruct.Speed = GPIO_SPEED_FREQ_VERY_HIGH;
  GPIO_InitStruct.Alternate = GPIO_AF9_CAN1;
  HAL_GPIO_Init(GPIOD, &GPIO_InitStruct);

  /*Configure GPIO pin : PD2 */
  GPIO_InitStruct.Pin = GPIO_PIN_2;
  GPIO_InitStruct.Mode = GPIO_MODE_AF_PP;
  GPIO_InitStruct.Pull = GPIO_NOPULL;
  GPIO_InitStruct.Speed = GPIO_SPEED_FREQ_VERY_HIGH;
  GPIO_InitStruct.Alternate = GPIO_AF12_SDMMC1;
  HAL_GPIO_Init(GPIOD, &GPIO_InitStruct);

  /*Configure GPIO pins : PB3 PB4 PB5 */
  GPIO_InitStruct.Pin = GPIO_PIN_3|GPIO_PIN_4|GPIO_PIN_5;
  GPIO_InitStruct.Mode = GPIO_MODE_AF_PP;
  GPIO_InitStruct.Pull = GPIO_NOPULL;
  GPIO_InitStruct.Speed = GPIO_SPEED_FREQ_VERY_HIGH;
  GPIO_InitStruct.Alternate = GPIO_AF6_SPI3;
  HAL_GPIO_Init(GPIOB, &GPIO_InitStruct);

  /*Configure GPIO pin : PB7 */
  GPIO_InitStruct.Pin = GPIO_PIN_7;
  GPIO_InitStruct.Mode = GPIO_MODE_OUTPUT_PP;
  GPIO_InitStruct.Pull = GPIO_NOPULL;
  GPIO_InitStruct.Speed = GPIO_SPEED_FREQ_LOW;
  HAL_GPIO_Init(GPIOB, &GPIO_InitStruct);

  /*Configure GPIO pins : PB8 PB9 */
  GPIO_InitStruct.Pin = GPIO_PIN_8|GPIO_PIN_9;
  GPIO_InitStruct.Mode = GPIO_MODE_AF_OD;
  GPIO_InitStruct.Pull = GPIO_NOPULL;
  GPIO_InitStruct.Speed = GPIO_SPEED_FREQ_VERY_HIGH;
  GPIO_InitStruct.Alternate = GPIO_AF4_I2C1;
  HAL_GPIO_Init(GPIOB, &GPIO_InitStruct);

  /* EXTI interrupt init*/
  HAL_NVIC_SetPriority(EXTI9_5_IRQn, 1, 0);
  HAL_NVIC_EnableIRQ(EXTI9_5_IRQn);

}

/* USER CODE BEGIN 4 */

// Converts photoresist readings into lux
double lux_read(double R){
	float Vr = 0;
	HAL_ADC_Start(&hadc1);//start conversion
	HAL_ADC_PollForConversion(&hadc1, 0xFFFFFFFF);//wait for conversion to finish
	Vr = HAL_ADC_GetValue(&hadc1);//retrieve value
	Vr = 3.3*Vr/pow(2,12);
	return  (double)pow(10, (-1*log(R*(3.3-Vr)/Vr) + 3.83)/0.858);
}

// Interrupt handler to record pedestrian count
void HAL_TIM_PeriodElapsedCallback(TIM_HandleTypeDef *htim) {
	if (day & (htim == &htim4)) { // if daytime and TIM4 interrupt
		if (HAL_GPIO_ReadPin(GPIOB,GPIO_PIN_7) == 0) { // if shared signal is low
			HAL_GPIO_TogglePin(GPIOF, GPIO_PIN_14); // toggle pin to 0 -> wake up Jetson from deep sleep
			 HAL_Delay(100);
			 HAL_GPIO_TogglePin(GPIOF, GPIO_PIN_14); // toggle pin to 1

			HAL_GPIO_WritePin(GPIOB, GPIO_PIN_7, 1); // Take Pedestrian count, trigger servo motion

			HAL_Delay(5000);
		}
		else {
			HAL_GPIO_WritePin(GPIOB, GPIO_PIN_7, 0); // set servo motion trigger low
		}

	}
}

// Interrupt Handler function for motion sensing
void HAL_GPIO_EXTI_Callback(uint16_t GPIO_Pin) {
	printf("Motion Detected!\n\r");
	motion += 1; // increment counter if motion detected
}

void move_servo_right(void) {
	for(int i = 150; i <= 225; i++) { // i = 225 is 75 degrees, 150 is 0 degrees
		HAL_Delay(50);
		*tim1_ccr2 &= ~(0xFFFF);
		*tim1_ccr2 |= i;
		printf("move servo right \n\r");
	}
}

void move_servo_center_left(void) {
	for(int i = 225; i >= 150; i--) {
			HAL_Delay(50);
			*tim1_ccr2 &= ~(0xFFFF);
			*tim1_ccr2 |= i;
			printf("move servo center left \n\r");
	}
}

void move_servo_left(void) {
	for(int i = 150; i >= 75; i--) {
			HAL_Delay(50);
			*tim1_ccr2 &= ~(0xFFFF);
			*tim1_ccr2 |= i;
			printf("move servo left \n\r");
	}
}

void move_servo_center_right(void) {
	for(int i = 75; i <= 150; i++) {
			HAL_Delay(50);
			*tim1_ccr2 &= ~(0xFFFF);
			*tim1_ccr2 |= i;
			printf("move servo center right \n\r");
	}
}

#ifdef __GNUC__
#define PUTCHAR_PROTOTYPE int __io_putchar(int ch)
#else
  #define PUTCHAR_PROTOTYPE int fputc(int ch, FILE *f)
#endif /* __GNUC__ */
PUTCHAR_PROTOTYPE
{
  HAL_UART_Transmit(&hlpuart1, (uint8_t *)&ch, 1, 0xFFFF);
  return ch;
}

/* USER CODE END 4 */

void Error_Handler(void)
{
  __disable_irq();
  while (1)
  {
  }
}
